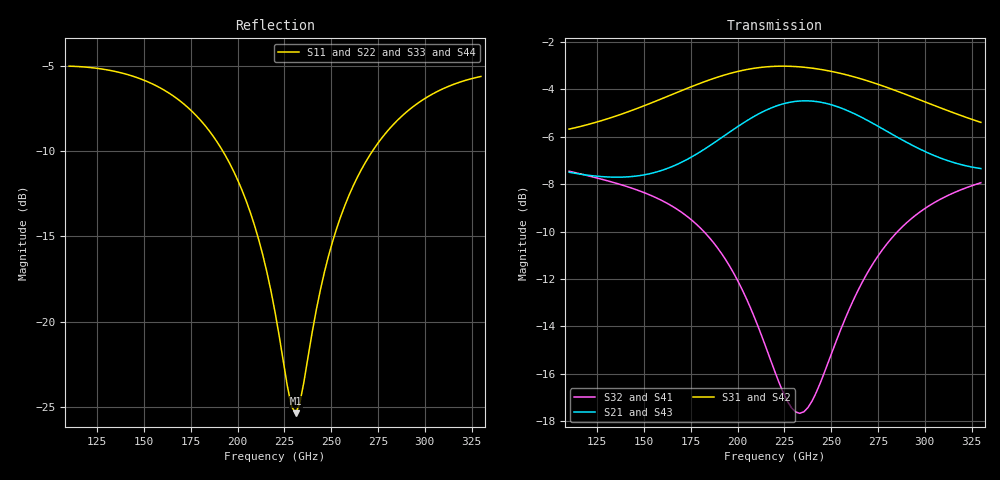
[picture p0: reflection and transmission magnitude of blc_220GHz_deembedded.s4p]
! Created with skrf 2.2.0 (http://scikit-rf.org).
# GHz S DB R 50.0
! Port[1] = P1
! Port[2] = P2
! Port[3] = P3
! Port[4] = P4
!freq dBS11 angS11 dBS12 angS12 dBS13 angS13
! dBS14 angS14
! dBS21 angS21 dBS22 angS22 dBS23 angS23
! dBS24 angS24
! dBS31 angS31 dBS32 angS32 dBS33 angS33
! dBS34 angS34
! dBS41 angS41 dBS42 angS42 dBS43 angS43
! dBS44 angS44
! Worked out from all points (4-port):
!   101 points, 110 GHz to 330 GHz, reference 50 ohm
!   strongest paths, dB at 110 GHz, 165 GHz, 220 GHz, 275 GHz, 330 GHz:
!     S31: -5.7, -4.2, -3.0, -3.8, -5.4
!     S42: -5.7, -4.2, -3.0, -3.8, -5.4
!     S21: -7.5, -7.3, -4.7, -5.6, -7.3
!     S43: -7.5, -7.3, -4.7, -5.6, -7.3
!     S32: -7.5, -8.9, -15.9, -11.0, -7.9
!     S41: -7.5, -8.9, -15.9, -11.0, -7.9
!   lowest |S11| = -25.4 dB at 231 GHz (marker M1), VSWR 1.11, Z = 55.6 - j0.803 ohm
!   |S11| at or under -10 dB: 192.1 GHz to 272.1 GHz (79.99 GHz wide, 34.5 % of centre)
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110  -5.02 159.4  -7.50 -48.1  -5.68 -77.7  -7.45 -60.3
     -7.50 -48.1  -5.02 159.4  -7.45 -60.3  -5.68 -77.7
     -5.68 -77.7  -7.45 -60.3  -5.02 159.4  -7.50 -48.1
     -7.45 -60.3  -5.68 -77.7  -7.50 -48.1  -5.02 159.3
189.2  -9.49 108.9  -6.16 -67.9  -3.49 -141.6  -10.68 -107.3
       -6.16 -67.9  -9.48 109.0  -10.68 -107.2  -3.49 -141.6
       -3.49 -141.6  -10.68 -107.2  -9.49 108.9  -6.17 -67.9
       -10.68 -107.3  -3.49 -141.6  -6.17 -67.9  -9.48 108.8
211.2  -15.16 82.3  -5.04 -80.3  -3.08 -163.8  -14.06 -115.7
       -5.04 -80.3  -15.14 82.3  -14.05 -115.7  -3.08 -163.8
       -3.08 -163.8  -14.05 -115.7  -15.16 82.1  -5.04 -80.3
       -14.06 -115.7  -3.08 -163.8  -5.04 -80.3  -15.13 82.0
231  -25.38 -7.7  -4.51 -95.3  -3.04 175.6  -17.62 -96.7
     -4.51 -95.3  -25.34 -7.3  -17.61 -96.7  -3.03 175.6
     -3.04 175.6  -17.61 -96.7  -25.25 -7.9  -4.51 -95.3
     -17.62 -96.7  -3.03 175.6  -4.51 -95.3  -25.22 -7.4
248.6  -16.15 -89.5  -4.61 -109.2  -3.22 157.6  -15.48 -71.5
       -4.61 -109.2  -16.16 -89.3  -15.48 -71.5  -3.21 157.7
       -3.22 157.6  -15.48 -71.5  -16.12 -89.3  -4.62 -109.2
       -15.48 -71.5  -3.21 157.7  -4.62 -109.2  -16.14 -89.2
266.2  -11.08 -111.7  -5.18 -121.5  -3.56 140.3  -12.19 -71.8
       -5.18 -121.5  -11.08 -111.6  -12.20 -71.8  -3.56 140.3
       -3.56 140.3  -12.20 -71.8  -11.06 -111.5  -5.18 -121.4
       -12.19 -71.8  -3.56 140.3  -5.18 -121.4  -11.07 -111.6
330  -5.62 -155.6  -7.34 -145.8  -5.39 86.1  -7.94 -110.5
     -7.34 -145.8  -5.63 -155.5  -7.94 -110.4  -5.39 86.1
     -5.39 86.1  -7.94 -110.4  -5.62 -155.5  -7.34 -145.7
     -7.94 -110.5  -5.39 86.1  -7.34 -145.7  -5.62 -155.6
